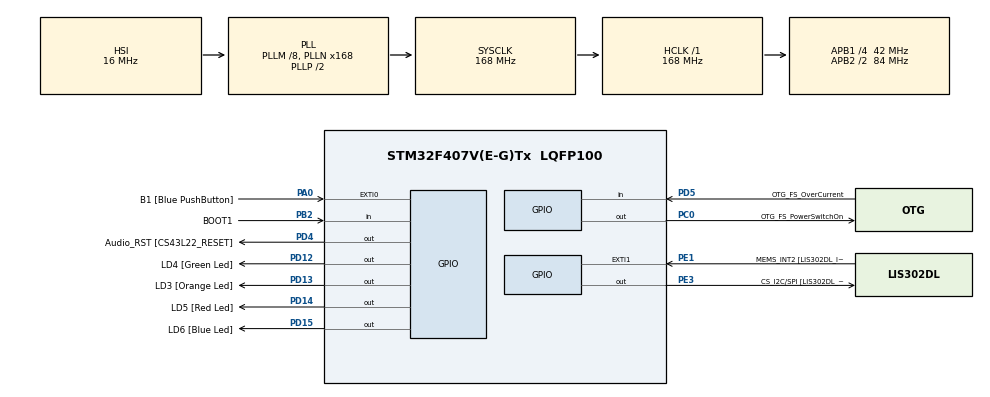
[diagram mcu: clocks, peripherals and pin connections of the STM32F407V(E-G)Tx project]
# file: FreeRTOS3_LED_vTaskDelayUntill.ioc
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Mcu.Family=STM32F4
Mcu.Name=STM32F407V(E-G)Tx
Mcu.Package=LQFP100
NVIC.PriorityGroup=NVIC_PRIORITYGROUP_4
NVIC.TIM6_DAC_IRQn=true\:0\:0\:false\:false\:true\:false\:true\:true
NVIC.TimeBase=TIM6_DAC_IRQn
NVIC.TimeBaseIP=TIM6
PA0-WKUP.GPIO_Label=B1 [Blue PushButton]
PA0-WKUP.Signal=GPXTI0
PA10.GPIO_Label=OTG_FS_ID
PA10.GPIO_Mode=GPIO_MODE_AF_PP
PA10.GPIO_PuPd=GPIO_NOPULL
PA10.GPIO_Speed=GPIO_SPEED_FREQ_LOW
PA10.Signal=USB_OTG_FS_ID
PA11.GPIO_Label=OTG_FS_DM
PA11.GPIO_Mode=GPIO_MODE_AF_PP
PA11.GPIO_PuPd=GPIO_NOPULL
PA11.GPIO_Speed=GPIO_SPEED_FREQ_LOW
PA11.Signal=USB_OTG_FS_DM
PA12.GPIO_Label=OTG_FS_DP
PA12.GPIO_Mode=GPIO_MODE_AF_PP
PA12.GPIO_PuPd=GPIO_NOPULL
PA12.GPIO_Speed=GPIO_SPEED_FREQ_LOW
PA12.Signal=USB_OTG_FS_DP
PA13.GPIO_Label=SWDIO
PA13.Signal=SYS_JTMS-SWDIO
PA14.GPIO_Label=SWCLK
PA14.Signal=SYS_JTCK-SWCLK
PA4.GPIO_Label=I2S3_WS [CS43L22_LRCK]
PA4.GPIO_Mode=GPIO_MODE_AF_PP
PA4.GPIO_PuPd=GPIO_NOPULL
PA4.GPIO_Speed=GPIO_SPEED_FREQ_LOW
PA4.Signal=I2S3_WS
PA5.GPIO_Label=SPI1_SCK [LIS302DL_SCL/SPC]
PA5.GPIO_Mode=GPIO_MODE_AF_PP
PA5.GPIO_PuPd=GPIO_NOPULL
PA5.GPIO_Speed=GPIO_SPEED_FREQ_LOW
PA5.Signal=SPI1_SCK
PA6.GPIO_Label=SPI1_MISO [LIS302DL_SDO]
PA6.GPIO_Mode=GPIO_MODE_AF_PP
PA6.GPIO_PuPd=GPIO_NOPULL
PA6.GPIO_Speed=GPIO_SPEED_FREQ_LOW
PA6.Signal=SPI1_MISO
PA7.GPIO_Label=SPI1_MOSI [LIS302DL_SDA/SDI/SDO]
PA7.GPIO_Mode=GPIO_MODE_AF_PP
PA7.GPIO_PuPd=GPIO_NOPULL
PA7.GPIO_Speed=GPIO_SPEED_FREQ_LOW
PA7.Signal=SPI1_MOSI
PA9.GPIO_Label=VBUS_FS
PA9.GPIO_Mode=GPIO_MODE_INPUT
PA9.GPIO_PuPd=GPIO_NOPULL
PA9.Signal=USB_OTG_FS_VBUS
PB10.GPIO_Label=CLK_IN [MP45DT02_CLK]
PB10.GPIO_Mode=GPIO_MODE_AF_PP
PB10.GPIO_PuPd=GPIO_NOPULL
PB10.GPIO_Speed=GPIO_SPEED_FREQ_LOW
PB10.Signal=I2S2_CK
PB2.GPIO_Label=BOOT1
PB2.GPIO_Mode=GPIO_MODE_INPUT
PB2.GPIO_PuPd=GPIO_NOPULL
PB2.Signal=GPIO_Input
PB3.GPIO_Label=SWO
PB3.Signal=SYS_JTDO-SWO
PB6.GPIO_Label=Audio_SCL [CS43L22_SCL]
PB6.GPIO_Mode=GPIO_MODE_AF_OD
PB6.GPIO_PuPd=GPIO_NOPULL
PB6.GPIO_Speed=GPIO_SPEED_FREQ_LOW
PB6.Signal=I2C1_SCL
PB9.GPIO_Label=Audio_SDA [CS43L22_SDA]
PB9.GPIO_Mode=GPIO_MODE_AF_OD
PB9.GPIO_PuPd=GPIO_NOPULL
PB9.GPIO_Speed=GPIO_SPEED_FREQ_LOW
PB9.Signal=I2C1_SDA
PC0.GPIO_Label=OTG_FS_PowerSwitchOn
PC0.GPIO_PuPd=GPIO_NOPULL
PC0.GPIO_Speed=GPIO_SPEED_FREQ_LOW
PC0.PinState=GPIO_PIN_SET
PC0.Signal=GPIO_Output
PC10.GPIO_Label=I2S3_SCK [CS43L22_SCLK]
PC10.GPIO_Mode=GPIO_MODE_AF_PP
PC10.GPIO_PuPd=GPIO_NOPULL
PC10.GPIO_Speed=GPIO_SPEED_FREQ_LOW
PC10.Signal=I2S3_CK
PC12.GPIO_Label=I2S3_SD [CS43L22_SDIN]
PC12.GPIO_Mode=GPIO_MODE_AF_PP
PC12.GPIO_PuPd=GPIO_NOPULL
PC12.GPIO_Speed=GPIO_SPEED_FREQ_LOW
PC12.Signal=I2S3_SD
PC14-OSC32_IN.GPIO_Label=PC14-OSC32_IN
PC14-OSC32_IN.Signal=RCC_OSC32_IN
PC15-OSC32_OUT.GPIO_Label=PC15-OSC32_OUT
PC15-OSC32_OUT.Signal=RCC_OSC32_OUT
PC3.GPIO_Label=PDM_OUT [MP45DT02_DOUT]
PC3.GPIO_Mode=GPIO_MODE_AF_PP
PC3.GPIO_PuPd=GPIO_NOPULL
PC3.GPIO_Speed=GPIO_SPEED_FREQ_LOW
PC3.Signal=I2S2_SD
PC7.GPIO_Label=I2S3_MCK [CS43L22_MCLK]
PC7.GPIO_Mode=GPIO_MODE_AF_PP
PC7.GPIO_PuPd=GPIO_NOPULL
PC7.GPIO_Speed=GPIO_SPEED_FREQ_LOW
PC7.Signal=I2S3_MCK
PD12.GPIO_Label=LD4 [Green Led]
PD12.GPIO_PuPd=GPIO_NOPULL
PD12.GPIO_Speed=GPIO_SPEED_FREQ_LOW
PD12.Signal=GPIO_Output
PD13.GPIO_Label=LD3 [Orange Led]
PD13.GPIO_PuPd=GPIO_NOPULL
PD13.GPIO_Speed=GPIO_SPEED_FREQ_LOW
PD13.Signal=GPIO_Output
PD14.GPIO_Label=LD5 [Red Led]
PD14.GPIO_PuPd=GPIO_NOPULL
PD14.GPIO_Speed=GPIO_SPEED_FREQ_LOW
PD14.Signal=GPIO_Output
PD15.GPIO_Label=LD6 [Blue Led]
PD15.GPIO_PuPd=GPIO_NOPULL
PD15.GPIO_Speed=GPIO_SPEED_FREQ_LOW
PD15.Signal=GPIO_Output
PD4.GPIO_Label=Audio_RST [CS43L22_RESET]
PD4.GPIO_PuPd=GPIO_NOPULL
PD4.GPIO_Speed=GPIO_SPEED_FREQ_LOW
PD4.Signal=GPIO_Output
PD5.GPIO_Label=OTG_FS_OverCurrent
PD5.GPIO_Mode=GPIO_MODE_INPUT
PD5.GPIO_PuPd=GPIO_NOPULL
PD5.Signal=GPIO_Input
PE1.GPIO_Label=MEMS_INT2 [LIS302DL_INT2]
PE1.GPIO_ModeDefaultEXTI=GPIO_MODE_EVT_RISING
PE1.GPIO_PuPd=GPIO_NOPULL
PE1.Signal=GPXTI1
PE3.GPIO_Label=CS_I2C/SPI [LIS302DL_CS_I2C/SPI]
PE3.GPIO_PuPd=GPIO_NOPULL
PE3.GPIO_Speed=GPIO_SPEED_FREQ_LOW
PE3.Signal=GPIO_Output
PH0-OSC_IN.GPIO_Label=PH0-OSC_IN
PH0-OSC_IN.Signal=RCC_OSC_IN
PH1-OSC_OUT.GPIO_Label=PH1-OSC_OUT
PH1-OSC_OUT.Signal=RCC_OSC_OUT
ProjectManager.HeapSize=0x200
ProjectManager.StackSize=0x400
ProjectManager.TargetToolchain=STM32CubeIDE
RCC.48MHZClocksFreq_Value=48000000
RCC.AHBFreq_Value=168000000
RCC.APB1CLKDivider=RCC_HCLK_DIV4
RCC.APB1Freq_Value=42000000
RCC.APB1TimFreq_Value=84000000
RCC.APB2CLKDivider=RCC_HCLK_DIV2
RCC.APB2Freq_Value=84000000
RCC.APB2TimFreq_Value=168000000
RCC.CortexFreq_Value=168000000
RCC.HCLKFreq_Value=168000000
RCC.HSE_VALUE=8000000
RCC.HSI_VALUE=16000000
RCC.LSE_VALUE=32768
RCC.PLLM=8
RCC.PLLN=168
RCC.PLLQ=7
RCC.SYSCLKFreq_VALUE=168000000
RCC.SYSCLKSource=RCC_SYSCLKSOURCE_PLLCLK
RCC.VCOOutputFreq_Value=336000000
VP_SYS_VS_tim6.Mode=TIM6
board=STM32F407G-DISC1

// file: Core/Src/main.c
/* USER CODE BEGIN Header */
/**
  ******************************************************************************
  * @file           : main.c
  * @brief          : Main program body
  ******************************************************************************
  * @attention
  *
  * Copyright (c) 2026 STMicroelectronics.
  * All rights reserved.
  *
  * This software is licensed under terms that can be found in the LICENSE file
  * in the root directory of this software component.
  * If no LICENSE file comes with this software, it is provided AS-IS.
  *
  ******************************************************************************
  */
/* USER CODE END Header */
#include "main.h"

/* USER CODE BEGIN Includes */

#include <stdio.h>
#include "FreeRTOS.h"
#include "task.h"

/* USER CODE END Includes */

/* USER CODE BEGIN PV */

#define DWT_CTRL	(*(volatile uint32_t*)0xE0001000)

/* USER CODE END PV */

void SystemClock_Config(void);
static void MX_GPIO_Init(void);
/* USER CODE BEGIN PFP */

static void led_green_handler(void* parameters);
static void led_orange_handler(void* parameters);
static void led_red_handler(void* parameters);

/* USER CODE END PFP */

int main(void)
{

  /* USER CODE BEGIN 1 */

	TaskHandle_t task1_handle;
	TaskHandle_t task2_handle;
	TaskHandle_t task3_handle;

	BaseType_t status;

  /* USER CODE END 1 */

  /* MCU Configuration--------------------------------------------------------*/

  /* Reset of all peripherals, Initializes the Flash interface and the Systick. */
  HAL_Init();

  /* Configure the system clock */
  SystemClock_Config();

  /* Initialize all configured peripherals */
  MX_GPIO_Init();
  /* USER CODE BEGIN 2 */
  DWT_CTRL |= (1 << 0);

  SEGGER_SYSVIEW_Conf();

  SEGGER_SYSVIEW_Start();

  status = xTaskCreate(led_green_handler, "LED_green_task", 200, NULL, 2, &task1_handle);

  configASSERT(status == pdPASS);

  status = xTaskCreate(led_red_handler, "LED_red_task", 200, NULL, 2, &task2_handle);

  configASSERT(status == pdPASS);

  status = xTaskCreate(led_orange_handler, "LED_orange_task", 200, NULL, 2, &task3_handle);

  configASSERT(status == pdPASS);

  //Start the FreeRTOS Scheduler
  vTaskStartScheduler();

  /* USER CODE END 2 */

  /* Infinite loop */
  while (1)
  {

  }
}

void SystemClock_Config(void)
{
  RCC_OscInitTypeDef RCC_OscInitStruct = {0};
  RCC_ClkInitTypeDef RCC_ClkInitStruct = {0};

  /** Configure the main internal regulator output voltage
  */
  __HAL_RCC_PWR_CLK_ENABLE();
  __HAL_PWR_VOLTAGESCALING_CONFIG(PWR_REGULATOR_VOLTAGE_SCALE1);

  /** Initializes the RCC Oscillators according to the specified parameters
  * in the RCC_OscInitTypeDef structure.
  */
  RCC_OscInitStruct.OscillatorType = RCC_OSCILLATORTYPE_HSI;
  RCC_OscInitStruct.HSIState = RCC_HSI_ON;
  RCC_OscInitStruct.HSICalibrationValue = RCC_HSICALIBRATION_DEFAULT;
  RCC_OscInitStruct.PLL.PLLState = RCC_PLL_ON;
  RCC_OscInitStruct.PLL.PLLSource = RCC_PLLSOURCE_HSI;
  RCC_OscInitStruct.PLL.PLLM = 8;
  RCC_OscInitStruct.PLL.PLLN = 168;
  RCC_OscInitStruct.PLL.PLLP = RCC_PLLP_DIV2;
  RCC_OscInitStruct.PLL.PLLQ = 7;
  if (HAL_RCC_OscConfig(&RCC_OscInitStruct) != HAL_OK)
  {
    Error_Handler();
  }

  /** Initializes the CPU, AHB and APB buses clocks
  */
  RCC_ClkInitStruct.ClockType = RCC_CLOCKTYPE_HCLK|RCC_CLOCKTYPE_SYSCLK
                              |RCC_CLOCKTYPE_PCLK1|RCC_CLOCKTYPE_PCLK2;
  RCC_ClkInitStruct.SYSCLKSource = RCC_SYSCLKSOURCE_PLLCLK;
  RCC_ClkInitStruct.AHBCLKDivider = RCC_SYSCLK_DIV1;
  RCC_ClkInitStruct.APB1CLKDivider = RCC_HCLK_DIV4;
  RCC_ClkInitStruct.APB2CLKDivider = RCC_HCLK_DIV2;

  if (HAL_RCC_ClockConfig(&RCC_ClkInitStruct, FLASH_LATENCY_5) != HAL_OK)
  {
    Error_Handler();
  }
}

static void MX_GPIO_Init(void)
{
  GPIO_InitTypeDef GPIO_InitStruct = {0};

  /* GPIO Ports Clock Enable */
  __HAL_RCC_GPIOE_CLK_ENABLE();
  __HAL_RCC_GPIOC_CLK_ENABLE();
  __HAL_RCC_GPIOH_CLK_ENABLE();
  __HAL_RCC_GPIOA_CLK_ENABLE();
  __HAL_RCC_GPIOB_CLK_ENABLE();
  __HAL_RCC_GPIOD_CLK_ENABLE();

  /*Configure GPIO pin Output Level */
  HAL_GPIO_WritePin(CS_I2C_SPI_GPIO_Port, CS_I2C_SPI_Pin, GPIO_PIN_RESET);

  /*Configure GPIO pin Output Level */
  HAL_GPIO_WritePin(OTG_FS_PowerSwitchOn_GPIO_Port, OTG_FS_PowerSwitchOn_Pin, GPIO_PIN_SET);

  /*Configure GPIO pin Output Level */
  HAL_GPIO_WritePin(GPIOD, LD4_Pin|LD3_Pin|LD5_Pin|LD6_Pin
                          |Audio_RST_Pin, GPIO_PIN_RESET);

  /*Configure GPIO pin : CS_I2C_SPI_Pin */
  GPIO_InitStruct.Pin = CS_I2C_SPI_Pin;
  GPIO_InitStruct.Mode = GPIO_MODE_OUTPUT_PP;
  GPIO_InitStruct.Pull = GPIO_NOPULL;
  GPIO_InitStruct.Speed = GPIO_SPEED_FREQ_LOW;
  HAL_GPIO_Init(CS_I2C_SPI_GPIO_Port, &GPIO_InitStruct);

  /*Configure GPIO pin : OTG_FS_PowerSwitchOn_Pin */
  GPIO_InitStruct.Pin = OTG_FS_PowerSwitchOn_Pin;
  GPIO_InitStruct.Mode = GPIO_MODE_OUTPUT_PP;
  GPIO_InitStruct.Pull = GPIO_NOPULL;
  GPIO_InitStruct.Speed = GPIO_SPEED_FREQ_LOW;
  HAL_GPIO_Init(OTG_FS_PowerSwitchOn_GPIO_Port, &GPIO_InitStruct);

  /*Configure GPIO pin : PDM_OUT_Pin */
  GPIO_InitStruct.Pin = PDM_OUT_Pin;
  GPIO_InitStruct.Mode = GPIO_MODE_AF_PP;
  GPIO_InitStruct.Pull = GPIO_NOPULL;
  GPIO_InitStruct.Speed = GPIO_SPEED_FREQ_LOW;
  GPIO_InitStruct.Alternate = GPIO_AF5_SPI2;
  HAL_GPIO_Init(PDM_OUT_GPIO_Port, &GPIO_InitStruct);

  /*Configure GPIO pin : B1_Pin */
  GPIO_InitStruct.Pin = B1_Pin;
  GPIO_InitStruct.Mode = GPIO_MODE_IT_RISING;
  GPIO_InitStruct.Pull = GPIO_NOPULL;
  HAL_GPIO_Init(B1_GPIO_Port, &GPIO_InitStruct);

  /*Configure GPIO pin : I2S3_WS_Pin */
  GPIO_InitStruct.Pin = I2S3_WS_Pin;
  GPIO_InitStruct.Mode = GPIO_MODE_AF_PP;
  GPIO_InitStruct.Pull = GPIO_NOPULL;
  GPIO_InitStruct.Speed = GPIO_SPEED_FREQ_LOW;
  GPIO_InitStruct.Alternate = GPIO_AF6_SPI3;
  HAL_GPIO_Init(I2S3_WS_GPIO_Port, &GPIO_InitStruct);

  /*Configure GPIO pins : SPI1_SCK_Pin SPI1_MISO_Pin SPI1_MOSI_Pin */
  GPIO_InitStruct.Pin = SPI1_SCK_Pin|SPI1_MISO_Pin|SPI1_MOSI_Pin;
  GPIO_InitStruct.Mode = GPIO_MODE_AF_PP;
  GPIO_InitStruct.Pull = GPIO_NOPULL;
  GPIO_InitStruct.Speed = GPIO_SPEED_FREQ_LOW;
  GPIO_InitStruct.Alternate = GPIO_AF5_SPI1;
  HAL_GPIO_Init(GPIOA, &GPIO_InitStruct);

  /*Configure GPIO pin : BOOT1_Pin */
  GPIO_InitStruct.Pin = BOOT1_Pin;
  GPIO_InitStruct.Mode = GPIO_MODE_INPUT;
  GPIO_InitStruct.Pull = GPIO_NOPULL;
  HAL_GPIO_Init(BOOT1_GPIO_Port, &GPIO_InitStruct);

  /*Configure GPIO pin : CLK_IN_Pin */
  GPIO_InitStruct.Pin = CLK_IN_Pin;
  GPIO_InitStruct.Mode = GPIO_MODE_AF_PP;
  GPIO_InitStruct.Pull = GPIO_NOPULL;
  GPIO_InitStruct.Speed = GPIO_SPEED_FREQ_LOW;
  GPIO_InitStruct.Alternate = GPIO_AF5_SPI2;
  HAL_GPIO_Init(CLK_IN_GPIO_Port, &GPIO_InitStruct);

  /*Configure GPIO pins : LD4_Pin LD3_Pin LD5_Pin LD6_Pin
                           Audio_RST_Pin */
  GPIO_InitStruct.Pin = LD4_Pin|LD3_Pin|LD5_Pin|LD6_Pin
                          |Audio_RST_Pin;
  GPIO_InitStruct.Mode = GPIO_MODE_OUTPUT_PP;
  GPIO_InitStruct.Pull = GPIO_NOPULL;
  GPIO_InitStruct.Speed = GPIO_SPEED_FREQ_LOW;
  HAL_GPIO_Init(GPIOD, &GPIO_InitStruct);

  /*Configure GPIO pins : I2S3_MCK_Pin I2S3_SCK_Pin I2S3_SD_Pin */
  GPIO_InitStruct.Pin = I2S3_MCK_Pin|I2S3_SCK_Pin|I2S3_SD_Pin;
  GPIO_InitStruct.Mode = GPIO_MODE_AF_PP;
  GPIO_InitStruct.Pull = GPIO_NOPULL;
  GPIO_InitStruct.Speed = GPIO_SPEED_FREQ_LOW;
  GPIO_InitStruct.Alternate = GPIO_AF6_SPI3;
  HAL_GPIO_Init(GPIOC, &GPIO_InitStruct);

  /*Configure GPIO pin : VBUS_FS_Pin */
  GPIO_InitStruct.Pin = VBUS_FS_Pin;
  GPIO_InitStruct.Mode = GPIO_MODE_INPUT;
  GPIO_InitStruct.Pull = GPIO_NOPULL;
  HAL_GPIO_Init(VBUS_FS_GPIO_Port, &GPIO_InitStruct);

  /*Configure GPIO pins : OTG_FS_ID_Pin OTG_FS_DM_Pin OTG_FS_DP_Pin */
  GPIO_InitStruct.Pin = OTG_FS_ID_Pin|OTG_FS_DM_Pin|OTG_FS_DP_Pin;
  GPIO_InitStruct.Mode = GPIO_MODE_AF_PP;
  GPIO_InitStruct.Pull = GPIO_NOPULL;
  GPIO_InitStruct.Speed = GPIO_SPEED_FREQ_LOW;
  GPIO_InitStruct.Alternate = GPIO_AF10_OTG_FS;
  HAL_GPIO_Init(GPIOA, &GPIO_InitStruct);

  /*Configure GPIO pin : OTG_FS_OverCurrent_Pin */
  GPIO_InitStruct.Pin = OTG_FS_OverCurrent_Pin;
  GPIO_InitStruct.Mode = GPIO_MODE_INPUT;
  GPIO_InitStruct.Pull = GPIO_NOPULL;
  HAL_GPIO_Init(OTG_FS_OverCurrent_GPIO_Port, &GPIO_InitStruct);

  /*Configure GPIO pins : Audio_SCL_Pin Audio_SDA_Pin */
  GPIO_InitStruct.Pin = Audio_SCL_Pin|Audio_SDA_Pin;
  GPIO_InitStruct.Mode = GPIO_MODE_AF_OD;
  GPIO_InitStruct.Pull = GPIO_NOPULL;
  GPIO_InitStruct.Speed = GPIO_SPEED_FREQ_LOW;
  GPIO_InitStruct.Alternate = GPIO_AF4_I2C1;
  HAL_GPIO_Init(GPIOB, &GPIO_InitStruct);

  /*Configure GPIO pin : MEMS_INT2_Pin */
  GPIO_InitStruct.Pin = MEMS_INT2_Pin;
  GPIO_InitStruct.Mode = GPIO_MODE_EVT_RISING;
  GPIO_InitStruct.Pull = GPIO_NOPULL;
  HAL_GPIO_Init(MEMS_INT2_GPIO_Port, &GPIO_InitStruct);

}

/* USER CODE BEGIN 4 */

static void led_green_handler(void* parameters)
{
	TickType_t xLastWakeTime;

	// Initialize the xLastWakeTime variable with the current time.
	xLastWakeTime = xTaskGetTickCount();

	while(1)
	{

		HAL_GPIO_TogglePin(GPIOD, LED_GREEN_PIN);
		vTaskDelayUntil(&xLastWakeTime, pdMS_TO_TICKS(1000));
	}
}

static void led_orange_handler(void* parameters)
{
	TickType_t xLastWakeTime;

	// Initialize the xLastWakeTime variable with the current time.
	xLastWakeTime = xTaskGetTickCount();

	while(1)
	{
		HAL_GPIO_TogglePin(GPIOD, LED_ORANGE_PIN);
		vTaskDelayUntil(&xLastWakeTime, pdMS_TO_TICKS(800));
	}
}

static void led_red_handler(void* parameters)
{
	TickType_t xLastWakeTime;

	// Initialize the xLastWakeTime variable with the current time.
	xLastWakeTime = xTaskGetTickCount();
	while(1)
	{
		HAL_GPIO_TogglePin(GPIOD, LED_RED_PIN);
		vTaskDelayUntil(&xLastWakeTime, pdMS_TO_TICKS(400));
	}
}
/* USER CODE END 4 */

void HAL_TIM_PeriodElapsedCallback(TIM_HandleTypeDef *htim)
{
  if (htim->Instance == TIM6)
  {
    HAL_IncTick();
  }
}

void Error_Handler(void)
{
  __disable_irq();
  while (1)
  {
  }
}
